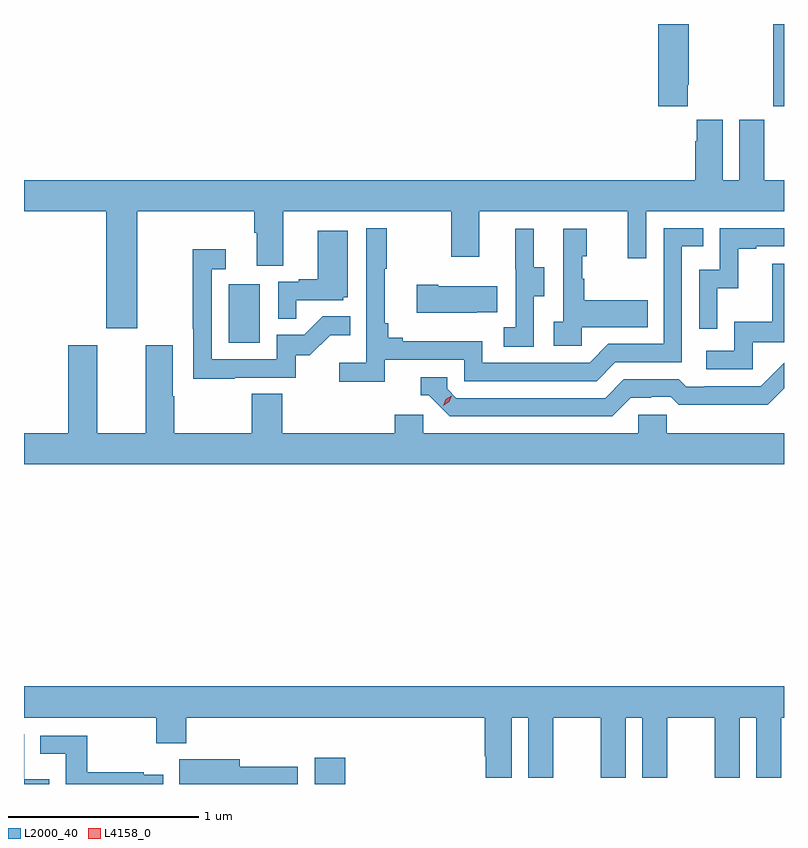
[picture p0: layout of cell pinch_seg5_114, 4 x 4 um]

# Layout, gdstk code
import gdstk
lib = gdstk.Library(unit=1e-6, precision=1e-09)
def R(c, l, rs):  # rectangles x0, y0, x1, y1
    for r in rs: c.add(gdstk.rectangle(r[:2], r[2:], *l))
def P(c, l, *ps):  # polygons
    for p in ps: c.add(gdstk.Polygon(p, *l))
L2000_40 = (2000, 40)
L4158_0 = (4158, 0)

pinch_seg5_114 = lib.new_cell('pinch_seg5_114')
R(pinch_seg5_114, L2000_40, [(1046.225,883.05,1046.386,883.189), (1045.772,885.372,1045.936,885.679), (1048.639,886.617,1048.695,887.05)])
P(pinch_seg5_114, L2000_40, [(1048.189,886.729),(1048.194,886.729),(1048.194,887.05),(1048.034,887.05),(1048.034,886.617),(1048.189,886.617)],
  [(1045.291,886.064),(1045.907,886.064),(1045.907,885.952),(1045.919,885.952),(1045.919,885.778),(1046.059,885.778),(1046.059,886.064),(1046.944,886.064),(1046.944,885.825),(1047.091,885.825),(1047.091,886.064),(1047.872,886.064),(1047.872,885.816),(1047.969,885.816),(1047.969,886.064),(1048.695,886.064),(1048.695,886.228),(1048.591,886.228),(1048.591,886.546),(1048.46,886.546),(1048.46,886.228),(1048.372,886.228),(1048.372,886.546),(1048.235,886.546),(1048.235,886.433),(1048.228,886.433),(1048.228,886.228),(1044.695,886.228),(1044.695,886.064),(1045.127,886.064),(1045.127,885.45),(1045.291,885.45)],
  [(1046.594,885.282),(1047.012,885.282),(1047.012,885.171),(1047.709,885.171),(1047.808,885.27),(1048.158,885.27),(1048.158,885.879),(1048.271,885.879),(1048.271,885.975),(1048.062,885.975),(1048.062,885.366),(1047.771,885.366),(1047.672,885.267),(1047.108,885.267),(1047.108,885.379),(1046.689,885.379),(1046.689,885.398),(1046.612,885.398),(1046.612,885.475),(1046.593,885.475),(1046.593,885.763),(1046.605,885.763),(1046.605,885.976),(1046.496,885.976),(1046.496,885.268),(1046.355,885.268),(1046.355,885.166),(1046.594,885.166)],
  [(1048.344,885.659),(1048.454,885.659),(1048.454,885.867),(1048.549,885.867),(1048.549,885.879),(1048.695,885.879),(1048.695,885.975),(1048.356,885.975),(1048.356,885.756),(1048.248,885.756),(1048.248,885.447),(1048.344,885.447)],
  [(1047.378,885.616),(1047.433,885.616),(1047.433,885.771),(1047.379,885.771),(1047.379,885.973),(1047.281,885.973),(1047.281,885.759),(1047.282,885.759),(1047.282,885.455),(1047.219,885.455),(1047.219,885.352),(1047.378,885.352)],
  [(1047.63,885.455),(1047.977,885.455),(1047.977,885.595),(1047.643,885.595),(1047.643,885.71),(1047.633,885.71),(1047.633,885.828),(1047.658,885.828),(1047.658,885.973),(1047.534,885.973),(1047.534,885.482),(1047.483,885.482),(1047.483,885.357),(1047.63,885.357)],
  [(1046.129,885.597),(1046.376,885.597),(1046.376,885.612),(1046.398,885.612),(1046.398,885.961),(1046.24,885.961),(1046.24,885.706),(1046.141,885.706),(1046.141,885.693),(1046.034,885.693),(1046.034,885.499),(1046.129,885.499)],
  [(1045.805,885.189),(1046.124,885.189),(1046.124,885.306),(1046.2,885.306),(1046.307,885.413),(1046.411,885.413),(1046.411,885.512),(1046.267,885.512),(1046.169,885.414),(1046.025,885.414),(1046.025,885.285),(1045.683,885.285),(1045.683,885.759),(1045.756,885.759),(1045.756,885.865),(1045.582,885.865),(1045.582,885.445),(1045.587,885.445),(1045.587,885.184),(1045.805,885.184)],
  [(1048.53,885.375),(1048.695,885.375),(1048.695,885.787),(1048.633,885.787),(1048.633,885.484),(1048.434,885.484),(1048.434,885.33),(1048.287,885.33),(1048.287,885.234),(1048.53,885.234)],
  [(1047.077,885.533),(1047.185,885.533),(1047.185,885.67),(1046.875,885.67),(1046.875,885.678),(1046.763,885.678),(1046.763,885.53),(1047.077,885.53)],
  [(1048.695,884.896),(1048.077,884.896),(1048.077,884.994),(1047.927,884.994),(1047.927,884.896),(1046.796,884.896),(1046.796,884.994),(1046.645,884.994),(1046.645,884.896),(1046.054,884.896),(1046.054,885.104),(1045.894,885.104),(1045.894,884.896),(1045.485,884.896),(1045.485,885.092),(1045.477,885.092),(1045.477,885.358),(1045.337,885.358),(1045.337,884.896),(1045.081,884.896),(1045.081,885.358),(1044.929,885.358),(1044.929,884.896),(1044.695,884.896),(1044.695,884.732),(1048.695,884.732)],
  [(1047.889,885.084),(1047.996,885.084),(1047.996,885.087),(1048.099,885.087),(1048.141,885.045),(1048.374,885.045),(1048.374,885.047),(1048.61,885.047),(1048.695,885.132),(1048.695,885.267),(1048.572,885.144),(1048.279,885.144),(1048.279,885.141),(1048.18,885.141),(1048.141,885.18),(1047.852,885.18),(1047.753,885.081),(1046.97,885.081),(1046.922,885.129),(1046.922,885.192),(1046.783,885.192),(1046.783,885.096),(1046.826,885.096),(1046.937,884.985),(1047.79,884.985)],
  [(1047.262,883.4),(1047.35,883.4),(1047.35,883.083),(1047.481,883.083),(1047.481,883.4),(1047.731,883.4),(1047.731,883.083),(1047.862,883.083),(1047.862,883.4),(1047.95,883.4),(1047.95,883.083),(1048.081,883.083),(1048.081,883.4),(1048.331,883.4),(1048.331,883.083),(1048.462,883.083),(1048.462,883.4),(1048.55,883.4),(1048.55,883.083),(1048.681,883.083),(1048.681,883.4),(1048.695,883.4),(1048.695,883.564),(1044.695,883.564),(1044.695,883.4),(1045.39,883.4),(1045.39,883.265),(1045.55,883.265),(1045.55,883.4),(1047.119,883.4),(1047.119,883.195),(1047.125,883.195),(1047.125,883.083),(1047.262,883.083)],
  [(1044.828,883.075),(1044.696,883.075),(1044.696,883.311),(1044.695,883.311),(1044.695,883.05),(1044.828,883.05)],
  [(1045.428,883.099),(1045.325,883.099),(1045.325,883.111),(1045.027,883.111),(1045.027,883.305),(1044.781,883.305),(1044.781,883.208),(1044.916,883.208),(1044.916,883.05),(1045.428,883.05)],
  [(1046.136,883.142),(1045.831,883.142),(1045.831,883.18),(1045.513,883.18),(1045.513,883.05),(1046.136,883.05)])
P(pinch_seg5_114, L4158_0, [(1046.901,885.041),(1046.901,885.041),(1046.916,885.074),(1046.947,885.094),(1046.947,885.094),(1046.947,885.094),(1046.932,885.061),(1046.901,885.041)])

lib.write_gds('pinch_seg5_114.gds')
